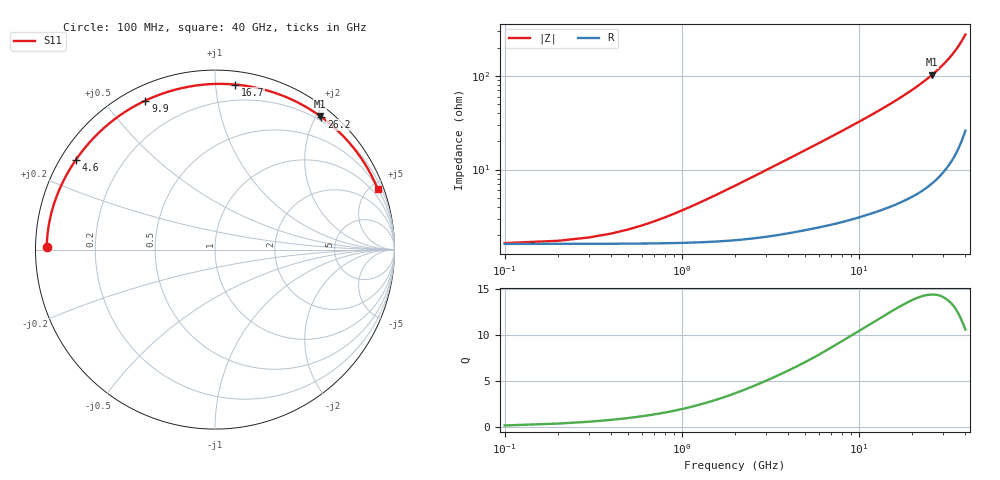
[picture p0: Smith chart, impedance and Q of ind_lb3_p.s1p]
#  Hz  S  RI  R  50
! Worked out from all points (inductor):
!   400 points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, 100 MHz to 40 GHz, reference 50 ohm
!   read as one part to ground: L = 515 pH near 1.6 GHz
!   highest Q = 14.4 at 26 GHz (marker M1), where L = 627 pH
!   S11 on the Smith chart (normalised r, x): 100 MHz: 0.03, +0.01; 4.6 GHz: 0.04, +0.29; 9.9 GHz: 0.06, +0.63; 16.7 GHz: 0.09, +1.13; 26.2 GHz: 0.14, +2.08; 40 GHz: 0.52, +5.49
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1e8  -0.9376 0.0122
1.1e9  -0.9266 0.1335
2.2e9  -0.8951 0.2607
3.3e9  -0.8472 0.3774
4.6e9  -0.7751 0.5003
5.1e9  -0.7439 0.5431
6.3e9  -0.6628 0.6359
7.5e9  -0.5748 0.7145
8.7e9  -0.4824 0.7791
9.9e9  -0.3881 0.8301
1.01e10  -0.3723 0.8374
1.13e10  -0.2781 0.874
1.25e10  -0.1856 0.8997
1.38e10  -0.0883 0.9165
1.51e10  0.00487 0.9231
1.67e10  0.113 0.9195
1.83e10  0.2132 0.9052
2.01e10  0.3163 0.8789
2.26e10  0.4426 0.829
2.51e10  0.5504 0.7681
2.6e10  0.585 0.7444
2.62e10  0.5924 0.7391
2.81e10  0.6579 0.6865
3.01e10  0.7177 0.6289
3.25e10  0.7785 0.5584
3.51e10  0.8327 0.4815
3.75e10  0.8729 0.4108
4e10  0.9063 0.3385
